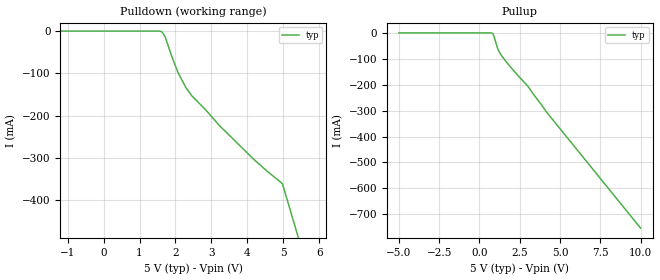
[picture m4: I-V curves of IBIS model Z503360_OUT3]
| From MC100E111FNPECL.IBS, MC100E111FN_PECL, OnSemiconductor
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| (C) COPYRIGHT 1993-2000
| MENTOR GRAPHICS CORPORATION
| ICX STANDARD LIBRARY, ICX PROJECT MODELING,
| ICX CUSTOM MODELING, ICX VENDOR MODEL
| ALL RIGHTS RESERVED.
| THE FOLLOWING ARE TRADEMARKS OR SERVICE MARKS OF
| MENTOR GRAPHICS CORPORATION:ICX (R), ICX STANDARD
| LIBRARY(R), ICX PROJECT MODELING(R), ICX CUSTOM
| MODELING(R), qualityIBIS(TM), MODELVIEWER(TM),
| AND MODELEDITOR(TM)
| ALL COPIES OF SOFTWARE, INCLUDING BUT NOT LIMITED TO
| ANY MODIFICATIONS, ENHANCEMENTS OR DERIVATIVE WORKS,
| MUST CONTAIN ALL MENTOR GRAPHICS CORPORATION'S
| NOTICES AND LEGENDS, INCLUDING THOSE EMBEDDED IN
| SOFTWARE AND THOSE AFFIXED TO SOFTWARE MEDIUM
| AND CONTAINER, AS RECEIVED FROM MENTOR GRAPHICS
| CORPORATION.
| Model Application Version 1.89 2/18/99.
[Model] Z503360_OUT3
Model_type Output_ECL
Vref=3.000V
Rref=50.00ohms
Cref=0.000F
Vmeas=3.677V
C_comp 8.000pF NA NA
| variable typ   min   max
[Voltage Range] 5.000V NA NA
[POWER Clamp Reference] 5.000V NA NA
[Pullup Reference] 5.000V NA NA
[Pulldown Reference] 5.000V NA NA
[GND Clamp Reference] 0.000V NA NA
[GND Clamp]
-5V       0A         NA         NA
10V       0A         NA         NA
[Pulldown]
-5V       0A         NA         NA
1.613V    -1.5mA     NA         NA
1.714V    -13.8mA    NA         NA
1.897V    -59.7mA    NA         NA
2.08V     -99.7mA    NA         NA
2.303V    -135.5mA   NA         NA
2.465V    -154mA     NA         NA
2.831V    -185.4mA   NA         NA
3.216V    -222.9mA   NA         NA
4.19V     -304.3mA   NA         NA
4.981V    -362.1mA   NA         NA
10V       -1.809A    NA         NA
[Pullup]
-5V       0A         NA         NA
802mV     -1.4mA     NA         NA
903mV     -13.5mA    NA         NA
1.126V    -59.8mA    NA         NA
1.227V    -73.5mA    NA         NA
1.694V    -114.3mA   NA         NA
3.013V    -206.6mA   NA         NA
4.149V    -304.6mA   NA         NA
10V       -753.8mA   NA         NA
[POWER Clamp]
-5V       0A         NA         NA
10V       0A         NA         NA
[Ramp]
| variable typ min max
dV/dt_r 477.9m/265.8p NA NA
dV/dt_f 477.9m/215.9p NA NA
R_load = 500.0Ohms
